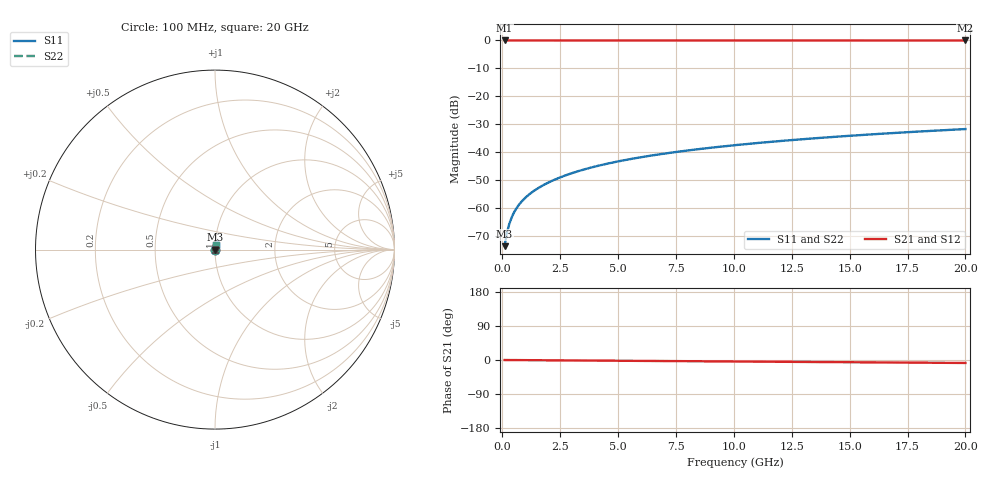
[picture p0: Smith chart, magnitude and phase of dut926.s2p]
! Touchstone file exported from HFSS 2026.1.0
!  File:  C:/ffzhzh/LocalFiles/Ansys_Project_Files/temp_train_TSV_926_1783186736_18472.aedt
!  Generated:  01:40:47 AM Jul  5, 2026
!  Design:  TSV
!  Project:  temp_train_TSV_926_1783186736_18472
! Variables:
!  h_bsmrdl = 2um
!  h_ox = 20um
!  h_rdl = 5um
!  h_sub = 74.23um
!  h_tmrdl = 5um
!  h_tsv = 74.23um
!  h_via = 3um
!  l_bsmrdl = 300um
!  l_sub = 419.38um
!  l_tmrdl = 200um
!  m_sub = 200um
!  pitch = 48.76um
!  r_tsv = 9.69um
!  s_tmrdl = 10um
!  w_bsmrdl = 18um
!  w_sub = 500um
!  w_tmrdl = 12um
!  x_tsv_center1 = 206um
!  x_tsv_center2 = 524um
!  x_tsv_center3 = 736um
!  x_tsv_center4 = 1054um
!  x_tsv_center5 = 1266um
!  x_tsv_center6 = 1584um
# GHz S MA R 50.000000
! Terminal data exported
! Port[1] = TSV1_1_T1
! Port[2] = TSV1_1_T2
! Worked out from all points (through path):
!   200 points, 100 MHz to 20 GHz, reference 50 ohm
!   highest |S21| = 0.00 dB at 100 MHz (marker M1); lowest = 0.0 dB at 20 GHz (marker M2)
!   group delay of S21, straight-line fit = 1.09 ps
!   lowest |S11| = -73.5 dB at 100 MHz (marker M3), VSWR 1.00, Z = 50 + j0.017 ohm
!   |S11| at or under -10 dB: start of sweep to end of sweep
!   |S22| runs from -73.5 to -31.7 dB; largest |S21 - S12| = 3.8e-15
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0.1  0.0002108 53.7  0.9999 -0.0  0.9999 -0.0  0.0002108 53.7
! Gamma 0 0 0 0
! Port Impedance 50 0 50 0
0.2  0.0003636 68.1  0.9999 -0.1  0.9999 -0.1  0.0003636 68.1
0.3  0.0005234 73.1  0.9998 -0.1  0.9998 -0.1  0.0005234 73.1
0.4  0.0006813 75.4  0.9998 -0.2  0.9998 -0.2  0.0006813 75.4
0.5  0.0008355 76.6  0.9998 -0.2  0.9998 -0.2  0.0008355 76.6
0.6  0.0009854 77.3  0.9998 -0.2  0.9998 -0.2  0.0009854 77.3
0.7  0.001132 77.9  0.9998 -0.3  0.9998 -0.3  0.001132 77.9
0.8  0.001274 78.3  0.9997 -0.3  0.9997 -0.3  0.001274 78.3
1  0.001553 79.0  0.9997 -0.4  0.9997 -0.4  0.001553 79.0
1.4  0.002097 80.1  0.9997 -0.6  0.9997 -0.6  0.002097 80.1
1.7  0.002501 80.8  0.9996 -0.7  0.9996 -0.7  0.002501 80.8
2  0.002903 81.4  0.9996 -0.8  0.9996 -0.8  0.002903 81.4
2.7  0.003841 82.2  0.9995 -1.1  0.9995 -1.1  0.003841 82.2
3.5  0.00491 82.7  0.9995 -1.4  0.9995 -1.4  0.00491 82.7
4.2  0.005839 82.9  0.9994 -1.7  0.9994 -1.7  0.005839 82.9
5  0.006895 83.0  0.9994 -2.0  0.9994 -2.0  0.006895 83.0
6.8  0.009249 82.9  0.9992 -2.7  0.9992 -2.7  0.009249 82.9
8.3  0.01119 82.7  0.9992 -3.3  0.9992 -3.3  0.01119 82.7
10.1  0.01351 82.4  0.999 -4.0  0.999 -4.0  0.01351 82.4
13.4  0.01774 81.6  0.9989 -5.3  0.9989 -5.3  0.01774 81.6
16.7  0.02194 80.6  0.9987 -6.5  0.9987 -6.5  0.02194 80.6
20  0.0261 79.5  0.9984 -7.8  0.9984 -7.8  0.0261 79.5
